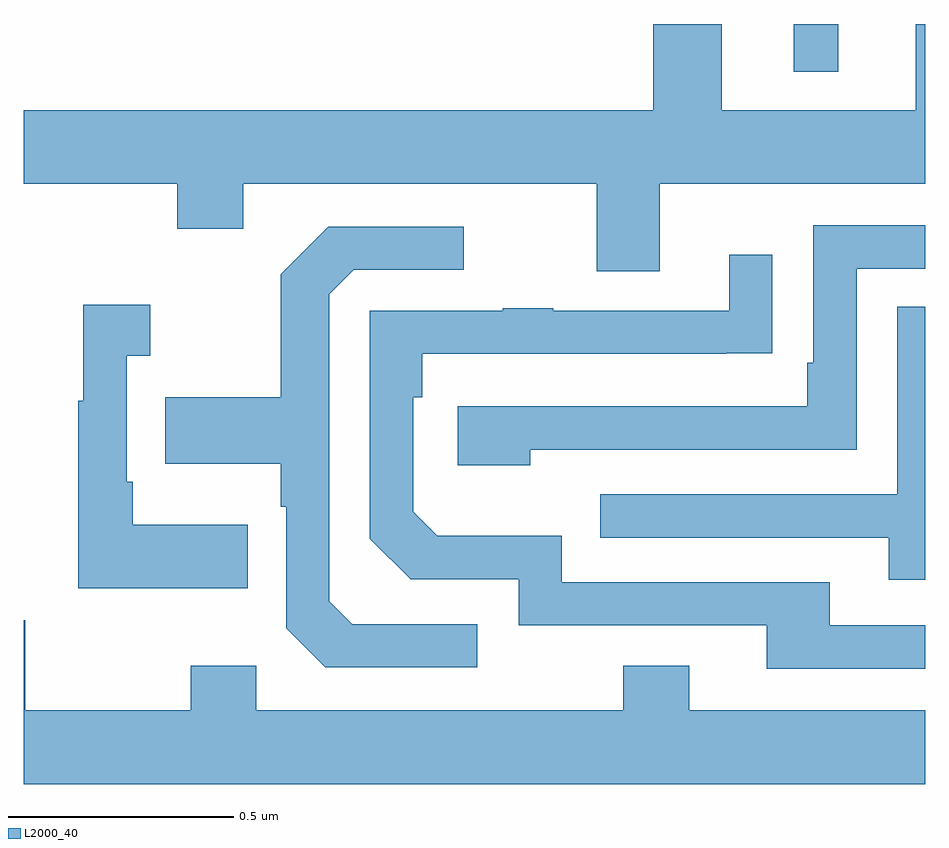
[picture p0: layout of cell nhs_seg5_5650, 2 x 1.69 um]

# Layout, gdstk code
import gdstk
lib = gdstk.Library(unit=1e-6, precision=1e-09)
def R(c, l, rs):  # rectangles x0, y0, x1, y1
    for r in rs: c.add(gdstk.rectangle(r[:2], r[2:], *l))
def P(c, l, *ps):  # polygons
    for p in ps: c.add(gdstk.Polygon(p, *l))
L2000_40 = (2000, 40)

nhs_seg5_5650 = lib.new_cell('nhs_seg5_5650')
R(nhs_seg5_5650, L2000_40, [(187.709,839.693,187.807,839.799)])
P(nhs_seg5_5650, L2000_40, [(188,839.799),(187.979,839.799),(187.979,839.608),(187.549,839.608),(187.549,839.799),(187.397,839.799),(187.397,839.608),(186,839.608),(186,839.444),(186.34,839.444),(186.34,839.345),(186.487,839.345),(186.487,839.444),(187.271,839.444),(187.271,839.25),(187.411,839.25),(187.411,839.444),(188,839.444)],
  [(187.124,838.854),(187.848,838.854),(187.848,839.256),(188,839.256),(188,839.352),(187.752,839.352),(187.752,839.047),(187.739,839.047),(187.739,838.95),(186.963,838.95),(186.963,838.82),(187.124,838.82)],
  [(187.006,838.467),(186.729,838.467),(186.678,838.518),(186.678,839.199),(186.732,839.253),(186.976,839.253),(186.976,839.349),(186.675,839.349),(186.57,839.243),(186.57,838.971),(186.313,838.971),(186.313,838.823),(186.57,838.823),(186.57,838.727),(186.582,838.727),(186.582,838.458),(186.669,838.371),(187.006,838.371)],
  [(188,838.464),(187.789,838.464),(187.789,838.56),(187.194,838.56),(187.194,838.663),(186.917,838.663),(186.864,838.716),(186.864,838.97),(186.884,838.97),(186.884,839.067),(187.559,839.067),(187.559,839.068),(187.661,839.068),(187.661,839.287),(187.565,839.287),(187.565,839.163),(187.175,839.163),(187.175,839.168),(187.063,839.168),(187.063,839.163),(186.768,839.163),(186.768,838.656),(186.858,838.566),(187.098,838.566),(187.098,838.464),(187.649,838.464),(187.649,838.368),(188,838.368)],
  [(186.497,838.687),(186.241,838.687),(186.241,838.783),(186.228,838.783),(186.228,839.063),(186.28,839.063),(186.28,839.176),(186.131,839.176),(186.131,838.963),(186.12,838.963),(186.12,838.547),(186.497,838.547)],
  [(188,839.171),(187.938,839.171),(187.938,838.755),(187.279,838.755),(187.279,838.659),(187.919,838.659),(187.919,838.565),(188,838.565)],
  [(188,838.276),(187.477,838.276),(187.477,838.375),(187.33,838.375),(187.33,838.276),(186.516,838.276),(186.516,838.375),(186.37,838.375),(186.37,838.276),(186.003,838.276),(186.003,838.475),(186,838.475),(186,838.112),(188,838.112)])

lib.write_gds('nhs_seg5_5650.gds')
